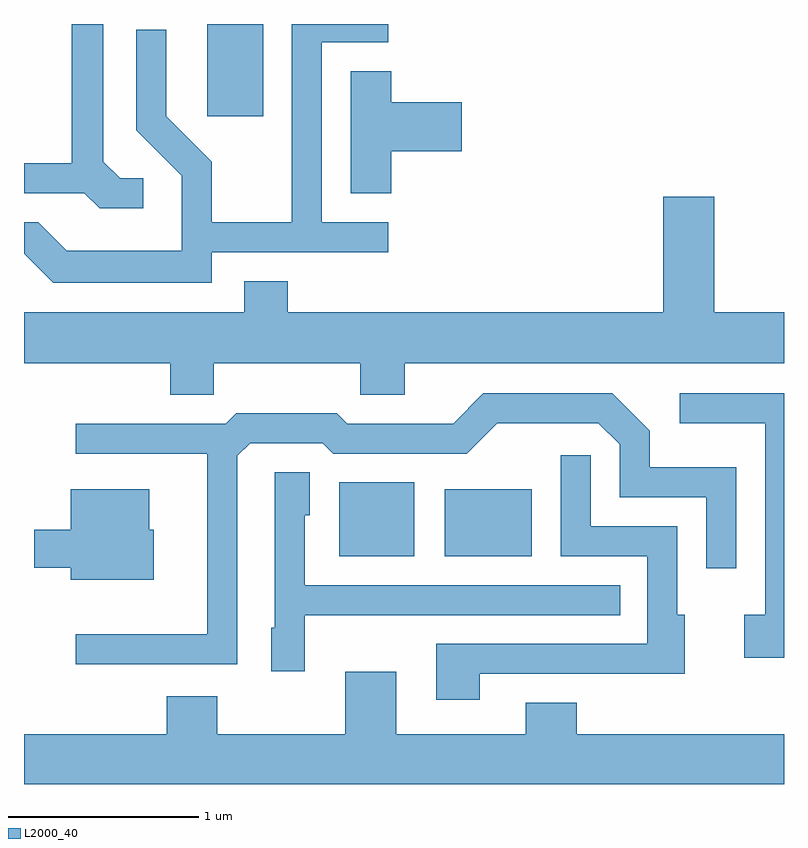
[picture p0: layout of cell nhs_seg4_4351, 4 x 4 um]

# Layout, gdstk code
import gdstk
lib = gdstk.Library(unit=1e-6, precision=1e-09)
def R(c, l, rs):  # rectangles x0, y0, x1, y1
    for r in rs: c.add(gdstk.rectangle(r[:2], r[2:], *l))
def P(c, l, *ps):  # polygons
    for p in ps: c.add(gdstk.Polygon(p, *l))
L2000_40 = (2000, 40)

nhs_seg4_4351 = lib.new_cell('nhs_seg4_4351')
R(nhs_seg4_4351, L2000_40, [(313.271,1389.181,313.664,1389.569), (313.826,1389.181,314.284,1389.534), (312.576,1391.496,312.869,1391.982)])
P(nhs_seg4_4351, L2000_40, [(312.238,1391.169),(312.117,1391.169),(312.029,1391.257),(312.029,1391.982),(311.861,1391.982),(311.861,1391.249),(311.611,1391.249),(311.611,1391.091),(311.929,1391.091),(312.009,1391.011),(312.238,1391.011)],
  [(312.599,1390.781),(313.528,1390.781),(313.528,1390.939),(313.179,1390.939),(313.179,1391.886),(313.528,1391.886),(313.528,1391.982),(313.021,1391.982),(313.021,1390.939),(312.599,1390.939),(312.599,1391.257),(312.359,1391.497),(312.359,1391.953),(312.201,1391.953),(312.201,1391.424),(312.441,1391.184),(312.441,1390.789),(311.837,1390.789),(311.687,1390.939),(311.611,1390.939),(311.611,1390.774),(311.764,1390.621),(312.599,1390.621)],
  [(313.544,1391.311),(313.914,1391.311),(313.914,1391.569),(313.544,1391.569),(313.544,1391.734),(313.331,1391.734),(313.331,1391.091),(313.544,1391.091)],
  [(313.381,1390.031),(313.614,1390.031),(313.614,1390.196),(315.611,1390.196),(315.611,1390.464),(315.244,1390.464),(315.244,1391.074),(314.976,1391.074),(314.976,1390.464),(312.999,1390.464),(312.999,1390.629),(312.771,1390.629),(312.771,1390.464),(311.611,1390.464),(311.611,1390.196),(312.381,1390.196),(312.381,1390.031),(312.609,1390.031),(312.609,1390.196),(313.381,1390.196)],
  [(312.734,1389.709),(312.802,1389.776),(313.184,1389.776),(313.239,1389.721),(313.942,1389.721),(314.102,1389.881),(314.634,1389.881),(314.746,1389.769),(314.746,1389.491),(315.201,1389.491),(315.201,1389.118),(315.359,1389.118),(315.359,1389.649),(314.904,1389.649),(314.904,1389.842),(314.707,1390.039),(314.029,1390.039),(313.869,1389.879),(313.312,1389.879),(313.257,1389.934),(312.729,1389.934),(312.674,1389.879),(311.883,1389.879),(311.883,1389.721),(312.576,1389.721),(312.576,1388.769),(311.883,1388.769),(311.883,1388.611),(312.734,1388.611)],
  [(315.611,1390.039),(315.063,1390.039),(315.063,1389.881),(315.511,1389.881),(315.511,1388.874),(315.401,1388.874),(315.401,1388.646),(315.611,1388.646)],
  [(314.009,1388.561),(315.089,1388.561),(315.089,1388.874),(315.049,1388.874),(315.049,1389.339),(314.594,1389.339),(314.594,1389.713),(314.436,1389.713),(314.436,1389.181),(314.891,1389.181),(314.891,1388.719),(313.781,1388.719),(313.781,1388.426),(314.009,1388.426)],
  [(313.089,1388.871),(314.748,1388.871),(314.748,1389.029),(313.089,1389.029),(313.089,1389.396),(313.114,1389.396),(313.114,1389.624),(312.931,1389.624),(312.931,1388.804),(312.911,1388.804),(312.911,1388.576),(313.089,1388.576)],
  [(312.294,1389.319),(312.269,1389.319),(312.269,1389.534),(311.856,1389.534),(311.856,1389.319),(311.666,1389.319),(311.666,1389.121),(311.856,1389.121),(311.856,1389.056),(312.294,1389.056)],
  [(315.611,1388.244),(314.519,1388.244),(314.519,1388.409),(314.251,1388.409),(314.251,1388.244),(313.569,1388.244),(313.569,1388.574),(313.301,1388.574),(313.301,1388.244),(312.629,1388.244),(312.629,1388.444),(312.361,1388.444),(312.361,1388.244),(311.611,1388.244),(311.611,1387.982),(315.611,1387.982)])

lib.write_gds('nhs_seg4_4351.gds')
